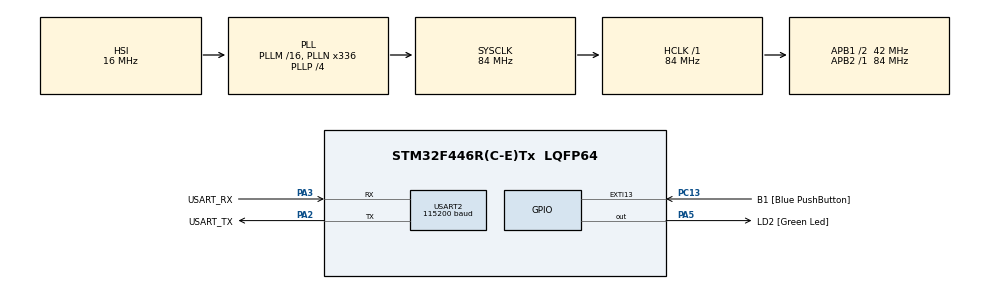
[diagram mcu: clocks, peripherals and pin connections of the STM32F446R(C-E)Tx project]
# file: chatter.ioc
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Dma.Request0=USART2_RX
Dma.Request1=USART2_TX
Dma.USART2_RX.0.Direction=DMA_PERIPH_TO_MEMORY
Dma.USART2_RX.0.FIFOMode=DMA_FIFOMODE_DISABLE
Dma.USART2_RX.0.Instance=DMA1_Stream5
Dma.USART2_RX.0.MemDataAlignment=DMA_MDATAALIGN_BYTE
Dma.USART2_RX.0.MemInc=DMA_MINC_ENABLE
Dma.USART2_RX.0.Mode=DMA_CIRCULAR
Dma.USART2_RX.0.PeriphDataAlignment=DMA_PDATAALIGN_BYTE
Dma.USART2_RX.0.PeriphInc=DMA_PINC_DISABLE
Dma.USART2_RX.0.Priority=DMA_PRIORITY_HIGH
Dma.USART2_TX.1.Direction=DMA_MEMORY_TO_PERIPH
Dma.USART2_TX.1.FIFOMode=DMA_FIFOMODE_DISABLE
Dma.USART2_TX.1.Instance=DMA1_Stream6
Dma.USART2_TX.1.MemDataAlignment=DMA_MDATAALIGN_BYTE
Dma.USART2_TX.1.MemInc=DMA_MINC_ENABLE
Dma.USART2_TX.1.Mode=DMA_NORMAL
Dma.USART2_TX.1.PeriphDataAlignment=DMA_PDATAALIGN_BYTE
Dma.USART2_TX.1.PeriphInc=DMA_PINC_DISABLE
Dma.USART2_TX.1.Priority=DMA_PRIORITY_HIGH
Mcu.Family=STM32F4
Mcu.Name=STM32F446R(C-E)Tx
Mcu.Package=LQFP64
NVIC.DMA1_Stream5_IRQn=true\:0\:0\:false\:false\:true\:false\:true
NVIC.DMA1_Stream6_IRQn=true\:0\:0\:false\:false\:true\:false\:true
NVIC.PriorityGroup=NVIC_PRIORITYGROUP_4
NVIC.USART2_IRQn=true\:0\:0\:false\:false\:true\:true\:true
PA13.GPIO_Label=TMS
PA13.Mode=Serial_Wire
PA13.Signal=SYS_JTMS-SWDIO
PA14.GPIO_Label=TCK
PA14.Mode=Serial_Wire
PA14.Signal=SYS_JTCK-SWCLK
PA2.GPIO_Label=USART_TX
PA2.Mode=Asynchronous
PA2.Signal=USART2_TX
PA3.GPIO_Label=USART_RX
PA3.Mode=Asynchronous
PA3.Signal=USART2_RX
PA5.GPIO_Label=LD2 [Green Led]
PA5.Signal=GPIO_Output
PB3.GPIO_Label=SWO
PB3.Signal=SYS_JTDO-SWO
PC13.GPIO_Label=B1 [Blue PushButton]
PC13.GPIO_ModeDefaultEXTI=GPIO_MODE_IT_FALLING
PC13.Signal=GPXTI13
PC14-OSC32_IN.Mode=LSE-External-Oscillator
PC14-OSC32_IN.Signal=RCC_OSC32_IN
PC15-OSC32_OUT.Mode=LSE-External-Oscillator
PC15-OSC32_OUT.Signal=RCC_OSC32_OUT
PH0-OSC_IN.Mode=HSE-External-Oscillator
PH0-OSC_IN.Signal=RCC_OSC_IN
PH1-OSC_OUT.Mode=HSE-External-Oscillator
PH1-OSC_OUT.Signal=RCC_OSC_OUT
ProjectManager.HeapSize=0x200
ProjectManager.StackSize=0x400
ProjectManager.TargetToolchain=STM32CubeIDE
RCC.48MHZClocksFreq_Value=84000000
RCC.AHBFreq_Value=84000000
RCC.APB1CLKDivider=RCC_HCLK_DIV2
RCC.APB1Freq_Value=42000000
RCC.APB1TimFreq_Value=84000000
RCC.APB2Freq_Value=84000000
RCC.APB2TimFreq_Value=84000000
RCC.CortexFreq_Value=84000000
RCC.FLatency-AdvancedSettings=FLASH_LATENCY_2
RCC.HCLKFreq_Value=84000000
RCC.HSE_VALUE=8000000
RCC.HSI_VALUE=16000000
RCC.PLLN=336
RCC.PLLP=RCC_PLLP_DIV4
RCC.SYSCLKFreq_VALUE=84000000
RCC.SYSCLKSource=RCC_SYSCLKSOURCE_PLLCLK
RCC.USBFreq_Value=168000000
RCC.VCOOutputFreq_Value=336000000
USART2.BaudRate=115200
USART2.VirtualMode=VM_ASYNC
board=NUCLEO-F446RE

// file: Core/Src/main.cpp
/* USER CODE BEGIN Header */
/**
 ******************************************************************************
 * @file           : main.c
 * @brief          : Main program body
 ******************************************************************************
 * @attention
 *
 * <h2><center>&copy; Copyright (c) 2020 STMicroelectronics.
 * All rights reserved.</center></h2>
 *
 * This software component is licensed by ST under BSD 3-Clause license,
 * the "License"; You may not use this file except in compliance with the
 * License. You may obtain a copy of the License at:
 *                        opensource.org/licenses/BSD-3-Clause
 *
 ******************************************************************************
 */
/* USER CODE END Header */
#include "main.h"
#include "ros.h"
#include "std_msgs/String.h"

UART_HandleTypeDef huart2;
DMA_HandleTypeDef hdma_usart2_rx;
DMA_HandleTypeDef hdma_usart2_tx;

void SystemClock_Config(void);
static void MX_GPIO_Init(void);
static void MX_DMA_Init(void);
static void MX_USART2_UART_Init(void);

//
void HAL_UART_TxCpltCallback(UART_HandleTypeDef *huart2);
void HAL_UART_RxCpltCallback(UART_HandleTypeDef *huart2);
void setup(void);
void loop(void);

/* USER CODE BEGIN 0 */
ros::NodeHandle nh;

std_msgs::String str_msg;
ros::Publisher chatter("chatter", &str_msg);
char hello[] = "Hello world!";

/* USER CODE END 0 */

int main(void)
{

	/* MCU Configuration--------------------------------------------------------*/

	/* Reset of all peripherals, Initializes the Flash interface and the Systick. */
	HAL_Init();

	/* Configure the system clock */
	SystemClock_Config();

	/* Initialize all configured peripherals */
	MX_GPIO_Init();
	MX_DMA_Init();
	MX_USART2_UART_Init();
	/* USER CODE BEGIN 2 */
	setup();
	/* USER CODE END 2 */

	/* Infinite loop */
	while (1)
	{

		/* USER CODE BEGIN 3 */
		loop();
	}
	/* USER CODE END 3 */
}

void SystemClock_Config(void)
{
	RCC_OscInitTypeDef RCC_OscInitStruct =
	{ 0 };
	RCC_ClkInitTypeDef RCC_ClkInitStruct =
	{ 0 };

	/** Configure the main internal regulator output voltage
	 */
	__HAL_RCC_PWR_CLK_ENABLE();
	__HAL_PWR_VOLTAGESCALING_CONFIG(PWR_REGULATOR_VOLTAGE_SCALE3);
	/** Initializes the RCC Oscillators according to the specified parameters
	 * in the RCC_OscInitTypeDef structure.
	 */
	RCC_OscInitStruct.OscillatorType = RCC_OSCILLATORTYPE_HSI;
	RCC_OscInitStruct.HSIState = RCC_HSI_ON;
	RCC_OscInitStruct.HSICalibrationValue = RCC_HSICALIBRATION_DEFAULT;
	RCC_OscInitStruct.PLL.PLLState = RCC_PLL_ON;
	RCC_OscInitStruct.PLL.PLLSource = RCC_PLLSOURCE_HSI;
	RCC_OscInitStruct.PLL.PLLM = 16;
	RCC_OscInitStruct.PLL.PLLN = 336;
	RCC_OscInitStruct.PLL.PLLP = RCC_PLLP_DIV4;
	RCC_OscInitStruct.PLL.PLLQ = 2;
	RCC_OscInitStruct.PLL.PLLR = 2;
	if (HAL_RCC_OscConfig(&RCC_OscInitStruct) != HAL_OK)
	{
		Error_Handler();
	}
	/** Initializes the CPU, AHB and APB buses clocks
	 */
	RCC_ClkInitStruct.ClockType = RCC_CLOCKTYPE_HCLK | RCC_CLOCKTYPE_SYSCLK
			| RCC_CLOCKTYPE_PCLK1 | RCC_CLOCKTYPE_PCLK2;
	RCC_ClkInitStruct.SYSCLKSource = RCC_SYSCLKSOURCE_PLLCLK;
	RCC_ClkInitStruct.AHBCLKDivider = RCC_SYSCLK_DIV1;
	RCC_ClkInitStruct.APB1CLKDivider = RCC_HCLK_DIV2;
	RCC_ClkInitStruct.APB2CLKDivider = RCC_HCLK_DIV1;

	if (HAL_RCC_ClockConfig(&RCC_ClkInitStruct, FLASH_LATENCY_2) != HAL_OK)
	{
		Error_Handler();
	}
}

static void MX_USART2_UART_Init(void)
{

	huart2.Instance = USART2;
	huart2.Init.BaudRate = 115200;
	huart2.Init.WordLength = UART_WORDLENGTH_8B;
	huart2.Init.StopBits = UART_STOPBITS_1;
	huart2.Init.Parity = UART_PARITY_NONE;
	huart2.Init.Mode = UART_MODE_TX_RX;
	huart2.Init.HwFlowCtl = UART_HWCONTROL_NONE;
	huart2.Init.OverSampling = UART_OVERSAMPLING_16;
	if (HAL_UART_Init(&huart2) != HAL_OK)
	{
		Error_Handler();
	}

}

static void MX_DMA_Init(void)
{

	/* DMA controller clock enable */
	__HAL_RCC_DMA1_CLK_ENABLE();

	/* DMA interrupt init */
	/* DMA1_Stream5_IRQn interrupt configuration */
	HAL_NVIC_SetPriority(DMA1_Stream5_IRQn, 0, 0);
	HAL_NVIC_EnableIRQ(DMA1_Stream5_IRQn);
	/* DMA1_Stream6_IRQn interrupt configuration */
	HAL_NVIC_SetPriority(DMA1_Stream6_IRQn, 0, 0);
	HAL_NVIC_EnableIRQ(DMA1_Stream6_IRQn);

}

static void MX_GPIO_Init(void)
{
	GPIO_InitTypeDef GPIO_InitStruct =
	{ 0 };

	/* GPIO Ports Clock Enable */
	__HAL_RCC_GPIOC_CLK_ENABLE();
	__HAL_RCC_GPIOH_CLK_ENABLE();
	__HAL_RCC_GPIOA_CLK_ENABLE();
	__HAL_RCC_GPIOB_CLK_ENABLE();

	/*Configure GPIO pin Output Level */
	HAL_GPIO_WritePin(LD2_GPIO_Port, LD2_Pin, GPIO_PIN_RESET);

	/*Configure GPIO pin : B1_Pin */
	GPIO_InitStruct.Pin = B1_Pin;
	GPIO_InitStruct.Mode = GPIO_MODE_IT_FALLING;
	GPIO_InitStruct.Pull = GPIO_NOPULL;
	HAL_GPIO_Init(B1_GPIO_Port, &GPIO_InitStruct);

	/*Configure GPIO pin : LD2_Pin */
	GPIO_InitStruct.Pin = LD2_Pin;
	GPIO_InitStruct.Mode = GPIO_MODE_OUTPUT_PP;
	GPIO_InitStruct.Pull = GPIO_NOPULL;
	GPIO_InitStruct.Speed = GPIO_SPEED_FREQ_LOW;
	HAL_GPIO_Init(LD2_GPIO_Port, &GPIO_InitStruct);

}

/* USER CODE BEGIN 4 */
void HAL_UART_TxCpltCallback(UART_HandleTypeDef *huart2)
{
	nh.getHardware()->flush();
}

void HAL_UART_RxCpltCallback(UART_HandleTypeDef *huart2)
{
	nh.getHardware()->reset_rbuf();
}

void setup(void)
{
	nh.initNode();
	nh.advertise(chatter);
}

void loop(void)
{
	HAL_GPIO_TogglePin(GPIOB, GPIO_PIN_3);

	str_msg.data = hello;
	chatter.publish(&str_msg);
	HAL_Delay(1000);
}

/* USER CODE END 4 */

void Error_Handler(void)
{
}

/************************ (C) COPYRIGHT STMicroelectronics *****END OF FILE****/
